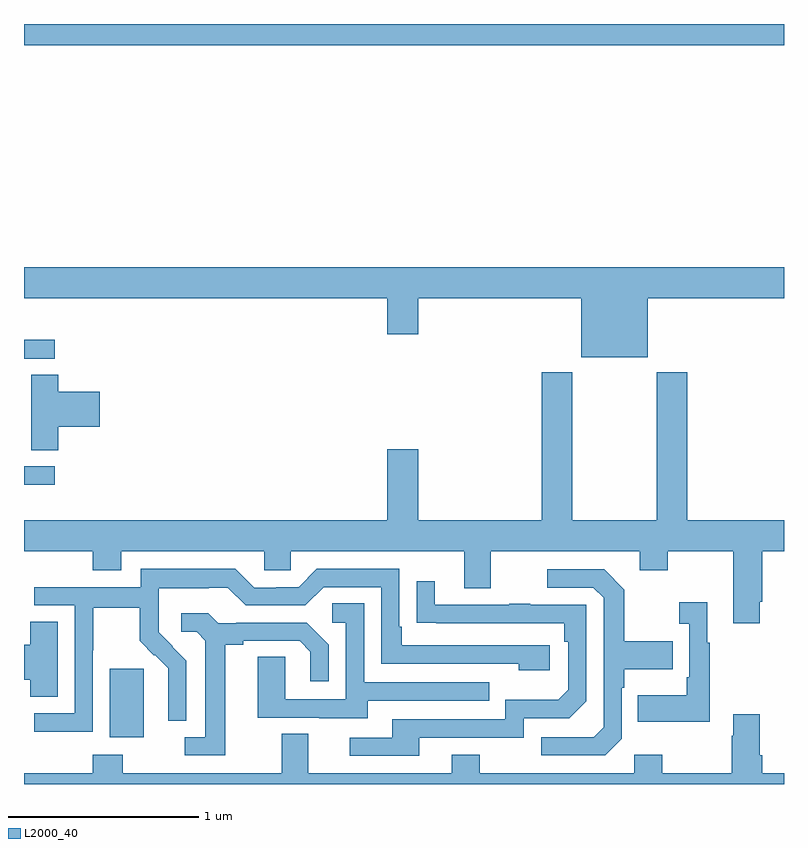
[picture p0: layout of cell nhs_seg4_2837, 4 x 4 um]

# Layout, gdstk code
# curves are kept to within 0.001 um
import gdstk
lib = gdstk.Library(unit=1e-6, precision=1e-09)
def R(c, l, rs):  # rectangles x0, y0, x1, y1
    for r in rs: c.add(gdstk.rectangle(r[:2], r[2:], *l))
def P(c, l, *ps):  # polygons
    for p in ps: c.add(gdstk.Polygon(p, *l))
L2000_40 = (2000, 40)

nhs_seg4_2837 = lib.new_cell('nhs_seg4_2837')
R(nhs_seg4_2837, L2000_40, [(259.451,825.146,259.63,825.507), (259,826.476,259.162,826.572), (259,827.139,259.162,827.238), (259,828.788,263,828.9)])
P(nhs_seg4_2837, L2000_40, [(262.282,827.456),(263,827.456),(263,827.62),(259,827.62),(259,827.456),(260.912,827.456),(260.912,827.268),(261.076,827.268),(261.076,827.456),(261.932,827.456),(261.932,827.147),(262.282,827.147)],
  [(262.873,825.859),(262.886,825.859),(262.886,826.124),(263,826.124),(263,826.288),(262.49,826.288),(262.49,827.068),(262.33,827.068),(262.33,826.288),(261.885,826.288),(261.885,827.068),(261.725,827.068),(261.725,826.288),(261.076,826.288),(261.076,826.663),(260.912,826.663),(260.912,826.288),(259,826.288),(259,826.124),(259.361,826.124),(259.361,826.025),(259.513,826.025),(259.513,826.124),(260.265,826.124),(260.265,826.026),(260.403,826.026),(260.403,826.124),(261.317,826.124),(261.317,825.93),(261.457,825.93),(261.457,826.124),(262.241,826.124),(262.241,826.025),(262.389,826.025),(262.389,826.124),(262.733,826.124),(262.733,825.747),(262.873,825.747)],
  [(259.181,826.781),(259.399,826.781),(259.399,826.964),(259.181,826.964),(259.181,827.054),(259.037,827.054),(259.037,826.657),(259.181,826.657)],
  [(259.362,825.604),(259.365,825.604),(259.365,825.828),(259.609,825.828),(259.609,825.653),(259.686,825.576),(259.689,825.579),(259.76,825.509),(259.76,825.386),(259.758,825.386),(259.758,825.232),(259.854,825.232),(259.854,825.55),(259.708,825.698),(259.708,825.795),(259.71,825.795),(259.71,825.929),(259.973,825.929),(259.973,825.933),(260.073,825.933),(260.166,825.84),(260.481,825.84),(260.577,825.936),(260.88,825.936),(260.88,825.534),(261.605,825.534),(261.605,825.5),(261.766,825.5),(261.766,825.63),(260.989,825.63),(260.989,825.727),(260.976,825.727),(260.976,826.032),(260.541,826.032),(260.445,825.936),(260.327,825.936),(260.327,825.933),(260.211,825.933),(260.111,826.033),(259.614,826.033),(259.614,825.936),(259.053,825.936),(259.053,825.84),(259.266,825.84),(259.266,825.273),(259.053,825.273),(259.053,825.175),(259.362,825.175)],
  [(262.146,825.138),(262.146,825.407),(262.159,825.407),(262.159,825.503),(262.415,825.503),(262.415,825.651),(262.159,825.651),(262.159,825.923),(262.053,826.029),(261.753,826.029),(261.753,825.933),(261.996,825.933),(262.05,825.879),(262.05,825.198),(261.999,825.147),(261.723,825.147),(261.723,825.051),(262.059,825.051)],
  [(261.079,825.144),(261.63,825.144),(261.63,825.246),(261.87,825.246),(261.96,825.336),(261.96,825.843),(261.665,825.843),(261.665,825.848),(261.553,825.848),(261.553,825.843),(261.163,825.843),(261.163,825.967),(261.067,825.967),(261.067,825.748),(261.844,825.747),(261.844,825.65),(261.864,825.65),(261.864,825.396),(261.811,825.343),(261.534,825.343),(261.534,825.24),(260.939,825.24),(260.939,825.144),(260.715,825.144),(260.715,825.048),(261.079,825.048)],
  [(262.609,825.643),(262.597,825.643),(262.597,825.856),(262.449,825.856),(262.449,825.743),(262.5,825.743),(262.5,825.463),(262.488,825.463),(262.488,825.367),(262.231,825.367),(262.231,825.227),(262.609,825.227)],
  [(260.809,825.339),(261.449,825.339),(261.449,825.435),(260.79,825.435),(260.79,825.851),(260.622,825.851),(260.622,825.75),(260.694,825.75),(260.694,825.345),(260.376,825.345),(260.376,825.569),(260.231,825.569),(260.231,825.249),(260.555,825.249),(260.555,825.245),(260.809,825.245)],
  [(260.059,825.632),(260.155,825.632),(260.155,825.654),(260.45,825.654),(260.507,825.597),(260.507,825.441),(260.604,825.441),(260.604,825.634),(260.488,825.75),(260.116,825.75),(260.116,825.747),(260.022,825.747),(259.97,825.799),(259.827,825.799),(259.827,825.702),(259.908,825.702),(259.955,825.655),(259.955,825.147),(259.845,825.147),(259.845,825.051),(260.059,825.051)],
  [(259.177,825.755),(259.034,825.755),(259.034,825.632),(259,825.632),(259,825.449),(259.034,825.449),(259.034,825.358),(259.177,825.358)],
  [(263,824.956),(262.886,824.956),(262.886,825.052),(262.873,825.052),(262.873,825.268),(262.733,825.268),(262.733,825.155),(262.726,825.155),(262.726,824.956),(262.359,824.956),(262.359,825.055),(262.212,825.055),(262.212,824.956),(261.399,824.956),(261.399,825.055),(261.251,825.055),(261.251,824.956),(260.497,824.956),(260.497,825.164),(260.357,825.164),(260.357,824.956),(259.521,824.956),(259.521,825.055),(259.361,825.055),(259.361,824.956),(259,824.956),(259,824.9),(263,824.9)])

lib.write_gds('nhs_seg4_2837.gds')
